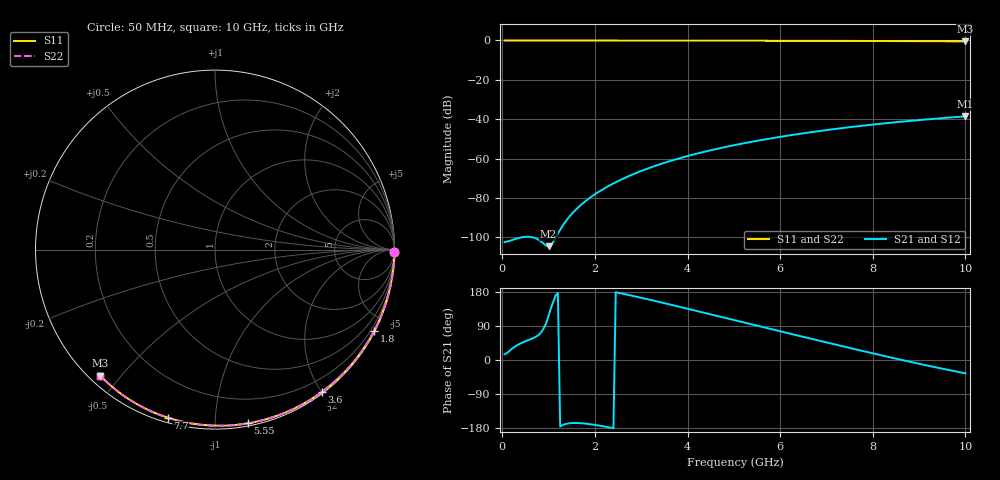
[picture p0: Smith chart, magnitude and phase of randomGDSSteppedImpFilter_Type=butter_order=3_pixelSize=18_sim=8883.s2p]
! freq	dB(S11)	phase(S11)	dB(S12)	phase(S12)
!  dB(S21)	phase(S21)	dB(S22)	phase(S22)
!S-par simulation data
#  GHz  S  DB  R 50
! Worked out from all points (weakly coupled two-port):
!   200 points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, 50 MHz to 10 GHz, reference 50 ohm
!   highest |S21| = -38.53 dB at 10 GHz (marker M1); lowest = -104.4 dB at 1 GHz (marker M2)
!   lowest |S11| = -0.4 dB at 10 GHz (marker M3), VSWR 38.86, Z = 1.54 - j22.1 ohm
!   |S11| at or under -10 dB: nowhere
!   |S22| runs from -0.4 to 0.0 dB; largest |S21 - S12| = 0
!   S11 on the Smith chart (normalised r, x): 50 MHz: open; 1.8 GHz: 0.04, -4.14; 3.6 GHz: 0.02, -2.00; 5.55 GHz: 0.02, -1.21; 7.7 GHz: 0.02, -0.76; 10 GHz: 0.03, -0.44
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0.05  -0.00 -0.8  -102.40 15.2  -102.40 15.2  -0.00 -0.8
0.5  -0.01 -7.6  -99.68 49.5  -99.68 49.5  -0.01 -7.6
1  -0.02 -15.2  -104.44 117.2  -104.44 117.2  -0.02 -15.2
1.75  -0.03 -26.4  -82.47 -167.3  -82.47 -167.3  -0.03 -26.4
1.8  -0.03 -27.1  -81.51 -167.9  -81.51 -167.9  -0.03 -27.1
1.85  -0.04 -27.9  -80.61 -168.6  -80.61 -168.6  -0.04 -27.9
1.9  -0.04 -28.6  -79.74 -169.4  -79.74 -169.4  -0.04 -28.6
2.05  -0.04 -30.8  -77.32 -172.2  -77.32 -172.2  -0.04 -30.8
2.25  -0.04 -33.7  -74.48 -176.4  -74.48 -176.4  -0.04 -33.7
2.65  -0.05 -39.6  -69.72 173.7  -69.72 173.7  -0.05 -39.6
3  -0.06 -44.6  -66.27 164.3  -66.27 164.3  -0.06 -44.6
3.4  -0.07 -50.2  -62.90 152.9  -62.90 152.9  -0.07 -50.2
3.6  -0.07 -53.0  -61.40 147.1  -61.40 147.1  -0.07 -53.0
4.3  -0.09 -62.7  -56.87 126.4  -56.87 126.4  -0.09 -62.7
5.05  -0.11 -72.7  -52.96 104.0  -52.96 104.0  -0.11 -72.7
5.55  -0.13 -79.2  -50.74 89.1  -50.74 89.1  -0.13 -79.2
6.1  -0.15 -86.2  -48.56 72.8  -48.56 72.8  -0.15 -86.2
6.7  -0.18 -93.7  -46.46 55.2  -46.46 55.2  -0.18 -93.7
7.7  -0.24 -105.8  -43.48 26.1  -43.48 26.1  -0.24 -105.8
8.35  -0.29 -113.4  -41.85 7.7  -41.85 7.7  -0.29 -113.4
9.15  -0.36 -122.6  -40.12 -13.9  -40.12 -13.9  -0.36 -122.7
10  -0.45 -132.3  -38.53 -35.2  -38.53 -35.2  -0.45 -132.3
